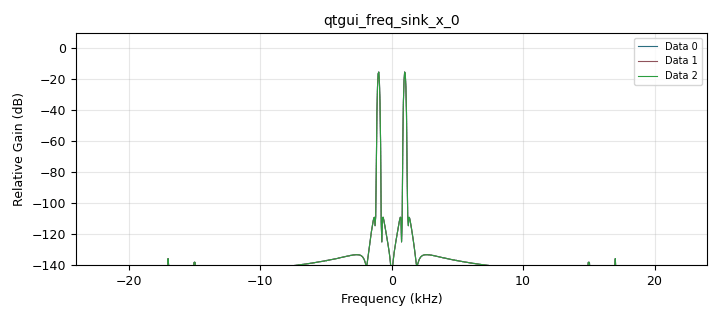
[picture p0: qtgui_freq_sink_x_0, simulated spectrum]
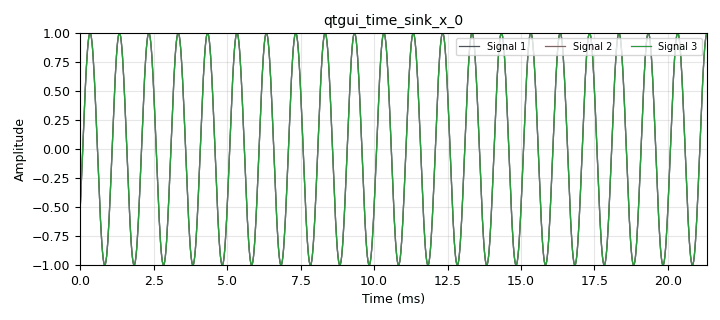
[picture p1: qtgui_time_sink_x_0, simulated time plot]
options:
  parameters:
    author: omar galvis y nicolas lenis
    copyright: UIS
    generate_options: qt_gui
    id: practica1_2
    output_language: python
    title: Not titled yet
  states: {}

blocks:
- name: samp_rate
  id: variable
  parameters:
    value: '48000'
  states: {}
- name: analog_sig_source_x_0
  id: analog_sig_source_x
  parameters:
    amp: '1'
    freq: '1000'
    offset: '0'
    phase: '0'
    samp_rate: samp_rate
    type: float
    waveform: analog.GR_COS_WAVE
  states: {}
- name: analog_sig_source_x_1
  id: analog_sig_source_x
  parameters:
    amp: '1'
    freq: '1000'
    offset: '0'
    phase: '0'
    samp_rate: samp_rate
    type: float
    waveform: analog.GR_COS_WAVE
  states: {}
- name: analog_sig_source_x_2
  id: analog_sig_source_x
  parameters:
    amp: '1'
    freq: '1000'
    offset: '0'
    phase: '0'
    samp_rate: samp_rate
    type: float
    waveform: analog.GR_COS_WAVE
  states: {}
- name: blocks_throttle_0
  id: blocks_throttle
  parameters:
    samples_per_second: samp_rate
    type: float
  states: {}
- name: qtgui_freq_sink_x_0
  id: qtgui_freq_sink_x
  parameters:
    bw: samp_rate
    fc: '0'
    fftsize: '1024'
    nconnections: '3'
    type: float
  states: {}
- name: qtgui_time_sink_x_0
  id: qtgui_time_sink_x
  parameters:
    entags: 'False'
    nconnections: '3'
    size: '1024'
    srate: samp_rate
    type: float
  states: {}
- name: rational_resampler_xxx_0
  id: rational_resampler_xxx
  parameters:
    decim: '1'
    interp: '1'
    type: fff
  states: {}
- name: rational_resampler_xxx_1
  id: rational_resampler_xxx
  parameters:
    decim: '1'
    interp: '1'
    type: fff
  states: {}
- name: rational_resampler_xxx_2
  id: rational_resampler_xxx
  parameters:
    decim: '1'
    interp: '1'
    type: fff
  states: {}

connections:
- [analog_sig_source_x_0, '0', rational_resampler_xxx_0, '0']
- [analog_sig_source_x_1, '0', rational_resampler_xxx_1, '0']
- [analog_sig_source_x_2, '0', rational_resampler_xxx_2, '0']
- [blocks_throttle_0, '0', qtgui_freq_sink_x_0, '0']
- [blocks_throttle_0, '0', qtgui_time_sink_x_0, '0']
- [rational_resampler_xxx_0, '0', qtgui_freq_sink_x_0, '2']
- [rational_resampler_xxx_0, '0', qtgui_time_sink_x_0, '2']
- [rational_resampler_xxx_1, '0', qtgui_freq_sink_x_0, '1']
- [rational_resampler_xxx_1, '0', qtgui_time_sink_x_0, '1']
- [rational_resampler_xxx_2, '0', blocks_throttle_0, '0']

metadata:
  file_format: 1
